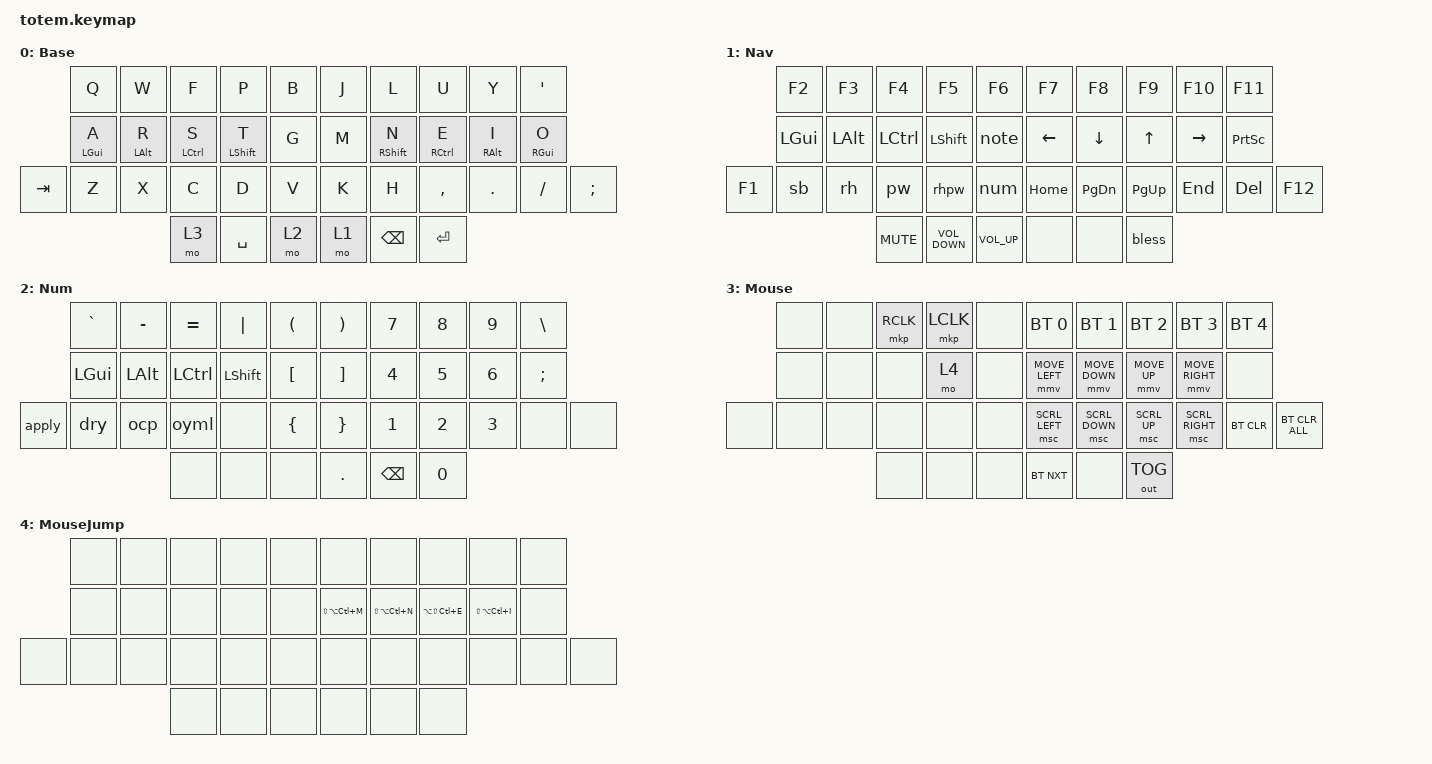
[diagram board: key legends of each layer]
//
//                                                        ▀▀▀▀▀     ▀▀▀▀▀          ▀▀█▀▀
//                                                        ▄▀▀▀▄  ▄  ▄▀▀▀▄  ▄  ▄▀▀▀▄  █  ▄▀▀▀▄
//                                                        █   █  █  █   █  █  █   █  █  █   █
//                                                         ▀▀▀   █   ▀▀▀   █   ▀▀▀   ▀   ▀▀▀
//                                                               █      ▄▄▄█▄▄▄    █   █  
//                                                               ▀      █  █  █     █▄█
//                                                             ▀▀▀▀▀    █  █  █      ▀
//                                                                      ▀  ▀  ▀
//
// ▄▄▄▄▄▄▄▄▄▄▄▄▄▄▄▄▄▄▄▄▄▄▄▄▄▄▄▄▄▄▄▄▄▄▄▄▄▄▄▄▄▄▄▄▄▄▄▄▄▄▄▄▄▄▄▄▄▄▄▄▄▄▄▄▄▄▄▄▄▄▄▄▄▄▄▄▄▄▄▄▄▄▄▄▄▄▄▄▄▄▄▄▄▄▄▄▄▄▄▄▄▄▄▄▄▄▄▄▄▄▄▄▄▄▄▄▄▄▄▄▄▄▄▄▄▄▄▄▄▄▄▄▄▄▄▄▄▄▄▄▄▄▄▄▄▄▄▄▄

#include <dt-bindings/zmk/mouse.h>
#include <behaviors.dtsi>
#include <dt-bindings/zmk/bt.h>
#include <dt-bindings/zmk/keys.h>
#include <dt-bindings/zmk/outputs.h>
#include <dt-bindings/zmk/pointing.h>

#define Base        0
#define Nav         1
#define Num         2
#define Mouse       3
#define MouseJump   4
#define ZMK_POINTING_DEFAULT_MOVE_VAL 1500  // 600
#define ZMK_POINTING_DEFAULT_SCRL_VAL 20    // 10

&mmv {
    acceleration-exponent = <1>;      // 1
    time-to-max-speed-ms = <500>;     // 40
    delay-ms = <0>;                   // 0
};

&msc {
    acceleration-exponent = <0>;      // 0
    time-to-max-speed-ms = <100>;    // 500
    delay-ms = <0>;                   // 10
};

&mt {
    quick-tap-ms = <100>;
    global-quick-tap;
    flavor = "tap-preferred";
    tapping-term-ms = <170>;
};

&lt {
    tapping-term-ms = <240>;
    flavor = "balanced";
    quick-tap-ms = <150>;
};

/ {
    behaviors {
        hml: homerow_mods_left {
            compatible = "zmk,behavior-hold-tap";
            label = "HOMEROW_MODS_LEFT";
            #binding-cells = <2>;
            flavor = "balanced";
            tapping-term-ms = <120>;
            quick-tap-ms = <175>;
            bindings = <&kp>, <&kp>;

            hold-trigger-key-positions = <0 1 2 12 3 4 0 10 11 13 14 20 21 22 23 24 25 32 33 34>;
            require-prior-idle-ms = <80>;
            hold-trigger-on-release;
        };

        hmr: homerow_mods_right {
            compatible = "zmk,behavior-hold-tap";
            label = "HOMEROW_MODS_RIGHT";
            #binding-cells = <2>;
            flavor = "balanced";
            tapping-term-ms = <120>;
            quick-tap-ms = <175>;
            bindings = <&kp>, <&kp>;

            require-prior-idle-ms = <80>;
            hold-trigger-on-release;
            hold-trigger-key-positions = <5 6 7 8 9 15 16 17 18 19 26 27 28 29 30 31 35 36 37>;
        };
    };

    combos {
        compatible = "zmk,combos";

        caps {
            bindings = <&caps_word>;
            key-positions = <16 13 12 17>;
            layers = <0>;
            timeout-ms = <50>;
        };

        prev_workspace {
            bindings = <&kp LC(LA(LS(TAB)))>;
            key-positions = <35 9>;
        };

        escape {
            bindings = <&kp ESCAPE>;
            key-positions = <36 19>;
        };

        switch_window {
            bindings = <&kp LA(TAB)>;
            key-positions = <34 0>;
        };

        workspace_1 {
            bindings = <&kp LG(NUMBER_1)>;
            key-positions = <37 27>;
        };

        workspace_2 {
            bindings = <&kp LG(NUMBER_2)>;
            key-positions = <37 28>;
        };

        workspace_3 {
            bindings = <&kp LG(NUMBER_3)>;
            key-positions = <37 29>;
        };

        workspace_4 {
            bindings = <&kp LG(NUMBER_4)>;
            key-positions = <37 16>;
        };

        workspace_5 {
            bindings = <&kp LG(N5)>;
            key-positions = <37 17>;
        };

        workspace_6 {
            bindings = <&kp LG(NUMBER_6)>;
            key-positions = <37 18>;
        };

        workspace_7 {
            bindings = <&kp LG(N7)>;
            key-positions = <37 6>;
        };

        workspace_8 {
            bindings = <&kp LG(N8)>;
            key-positions = <37 7>;
        };

        workspace_9 {
            bindings = <&kp LG(N9)>;
            key-positions = <37 8>;
        };

        tmux_copy_mode {
            bindings = <&tcm>;
            key-positions = <3 2 7 6>;
        };

        parentheses {
            bindings = <&parentheses>;
            key-positions = <4 5>;
        };

        bracket {
            bindings = <&bracket>;
            key-positions = <14 15>;
        };

        brace {
            bindings = <&brace>;
            key-positions = <25 26>;
        };

        dquote {
            bindings = <&dquote>;
            key-positions = <0 9>;
        };
    };

    macros {
        pw: pw {
            compatible = "zmk,behavior-macro";
            #binding-cells = <0>;
            bindings = <&kp N5 &kp N6 &kp N5 &kp N6 &kp N &kp O &kp LS(P) &kp EXCL &kp S &kp T &kp O &kp EXCL>;
            label = "PW";
            wait-ms = <5>;
            tap-ms = <5>;
        };

        sb: sb {
            compatible = "zmk,behavior-macro";
            #binding-cells = <0>;
            bindings = <&kp Y &kp E &kp O &kp S &kp H &kp I &kp B &kp I &kp N &kp N9 &kp N7 &kp AT &kp G &kp M &kp A &kp I &kp L &kp DOT &kp C &kp O &kp M>;
            label = "SB";
            wait-ms = <5>;
            tap-ms = <5>;
        };

        rh: rh {
            compatible = "zmk,behavior-macro";
            #binding-cells = <0>;
            bindings = <&kp S &kp H &kp Y &kp E &kp O &kp AT &kp R &kp E &kp D &kp H &kp A &kp T &kp DOT &kp C &kp O &kp M>;
            label = "RH";
            wait-ms = <5>;
            tap-ms = <5>;
        };

        tcm: tmux_copy_mode {
            compatible = "zmk,behavior-macro";
            #binding-cells = <0>;
            bindings = <&kp RC(B) &kp LEFT_BRACKET>;
            label = "TMUX_COPY_MODE";
        };

        parentheses: bracket {
            compatible = "zmk,behavior-macro";
            #binding-cells = <0>;
            bindings = <&kp LPAR &kp RPAR &kp LEFT>;
            label = "BRACKET";
        };

        bracket: sbracket {
            compatible = "zmk,behavior-macro";
            #binding-cells = <0>;
            bindings = <&kp LBKT &kp RIGHT_BRACKET &kp LEFT>;
            label = "SBRACKET";
        };

        brace: cbracket {
            compatible = "zmk,behavior-macro";
            #binding-cells = <0>;
            bindings = <&kp LEFT_BRACE &kp RBRC &kp LEFT>;
            label = "CBRACKET";
        };

        dquote: dquote {
            compatible = "zmk,behavior-macro";
            #binding-cells = <0>;
            bindings = <&kp DQT &kp DQT &kp LEFT>;
            label = "DQUOTE";
        };

        rhpw: rhpw {
            compatible = "zmk,behavior-macro";
            #binding-cells = <0>;
            bindings = <&kp A &kp S &kp D &kp F &kp G &kp H &kp J &kp K &kp LS(L) &kp EXCL &kp N2 &kp N3 &kp N4 &kp N5>;
            label = "RHPW";
            wait-ms = <5>;
            tap-ms = <5>;
        };

        num: num {
            compatible = "zmk,behavior-macro";
            #binding-cells = <0>;
            bindings = <&kp N9 &kp N8 &kp N5 &kp N7 &kp N8 &kp N4 &kp N3 &kp N9>;
            label = "NUM";
            wait-ms = <5>;
            tap-ms = <5>;
        };

        ocp: ocp {
            compatible = "zmk,behavior-macro";
            #binding-cells = <0>;
            bindings = <&kp O &kp P &kp E &kp N &kp S &kp H &kp I &kp F &kp T>;
            label = "OCP";
            wait-ms = <5>;
            tap-ms = <5>;
        };

        oyml: oyml {
            compatible = "zmk,behavior-macro";
            #binding-cells = <0>;
            bindings = <&kp MINUS &kp O &kp Y &kp A &kp M &kp L &kp SPACE &kp PIPE &kp SPACE &kp L &kp E &kp S &kp S>;
            label = "OYML";
            wait-ms = <5>;
            tap-ms = <5>;
        };

        note: note {
            compatible = "zmk,behavior-macro";
            #binding-cells = <0>;
            bindings = <&kp I &kp MINUS &kp MINUS &kp MINUS &kp U &kp P &kp RET &kp LBKT &kp LBKT>;
            label = "NOTE";
        };

        apply: apply {
            compatible = "zmk,behavior-macro";
            #binding-cells = <0>;
            bindings = <&kp O &kp C &kp SPACE &kp A &kp P &kp P &kp L &kp Y &kp SPACE &kp MINUS &kp F &kp SPACE>;
            label = "APPLY";
            wait-ms = <5>;
            tap-ms = <5>;
        };

        dry: dry {
            compatible = "zmk,behavior-macro";
            #binding-cells = <0>;
            bindings = <&kp MINUS &kp MINUS &kp D &kp R &kp Y &kp MINUS &kp R &kp U &kp N &kp EQUAL &kp S &kp E &kp R &kp V &kp E &kp R>;
            label = "DRY";
            wait-ms = <5>;
            tap-ms = <5>;
        };

        bless: bless {
            compatible = "zmk,behavior-macro";
            #binding-cells = <0>;
            bindings = <&kp N5 &kp X &kp LS(B) &kp L &kp E &kp S &kp S &kp I &kp N &kp G &kp S &kp EXCL>;
            label = "BLESS";
            wait-ms = <5>;
            tap-ms = <5>;
        };
    };

    keymap {
        compatible = "zmk,keymap";

        Base {
            label = "Base";
            bindings = <
         &kp Q        &kp W        &kp F         &kp P          &kp B    &kp J  &kp L          &kp U         &kp Y        &kp SQT
         &hml LGUI A  &hml LALT R  &hml LCTRL S  &hml LSHIFT T  &kp G    &kp M  &hmr RSHIFT N  &hmr RCTRL E  &hmr RALT I  &hmr RGUI O
&kp TAB  &kp Z        &kp X        &kp C         &kp D          &kp V    &kp K  &kp H          &kp COMMA     &kp DOT      &kp SLASH    &kp SEMICOLON
                                   &mo 3         &kp SPACE      &mo 2    &mo 1  &kp BACKSPACE  &kp ENTER
            >;
        };

        Nav {
            label = "Nav";
            bindings = <
        &kp F2        &kp F3        &kp F4      &kp F5             &kp F6             &kp F7    &kp F8         &kp F9       &kp F10    &kp F11
        &kp LEFT_GUI  &kp LEFT_ALT  &kp LCTRL   &kp LEFT_SHIFT     &note              &kp LEFT  &kp DOWN       &kp UP       &kp RIGHT  &kp PRINTSCREEN
&kp F1  &sb           &rh           &pw         &rhpw              &num               &kp HOME  &kp PAGE_DOWN  &kp PAGE_UP  &kp END    &kp DELETE       &kp F12
                                    &kp K_MUTE  &kp C_VOLUME_DOWN  &kp C_VOLUME_UP    &none     &none          &bless
            >;
        };

        Num {
            label = "Num";
            bindings = <
        &kp GRAVE  &kp MINUS  &kp EQUAL  &kp PIPE   &kp LEFT_PARENTHESIS    &kp RIGHT_PARENTHESIS  &kp N7         &kp N8  &kp N9  &kp BACKSLASH
        &kp LGUI   &kp LALT   &kp LCTRL  &kp LSHFT  &kp LEFT_BRACKET        &kp RIGHT_BRACKET      &kp N4         &kp N5  &kp N6  &kp SEMICOLON
&apply  &dry       &ocp       &oyml      &none      &kp LEFT_BRACE          &kp RIGHT_BRACE        &kp N1         &kp N2  &kp N3  &none          &none
                              &none      &none      &none                   &kp PERIOD             &kp BACKSPACE  &kp N0
            >;
        };

        Mouse {
            label = "Mouse";
            bindings = <
       &none  &none  &mkp RCLK  &mkp LCLK  &none    &bt BT_SEL 0    &bt BT_SEL 1    &bt BT_SEL 2  &bt BT_SEL 3     &bt BT_SEL 4
       &none  &none  &none      &mo 4      &none    &mmv MOVE_LEFT  &mmv MOVE_DOWN  &mmv MOVE_UP  &mmv MOVE_RIGHT  &none
&none  &none  &none  &none      &none      &none    &msc SCRL_LEFT  &msc SCRL_DOWN  &msc SCRL_UP  &msc SCRL_RIGHT  &bt BT_CLR    &bt BT_CLR_ALL
                     &none      &none      &none    &bt BT_NXT      &none           &out OUT_TOG
            >;
        };

        MouseJump {
            label = "MouseJump";
            bindings = <
       &none  &none  &none  &none  &none    &none              &none              &none              &none              &none
       &none  &none  &none  &none  &none    &kp LS(LA(LC(M)))  &kp LS(LA(LC(N)))  &kp LA(LS(LC(E)))  &kp LS(LA(LC(I)))  &none
&none  &none  &none  &none  &none  &none    &none              &none              &none              &none              &none  &none
                     &none  &none  &none    &none              &none              &none
            >;
        };
    };
};
